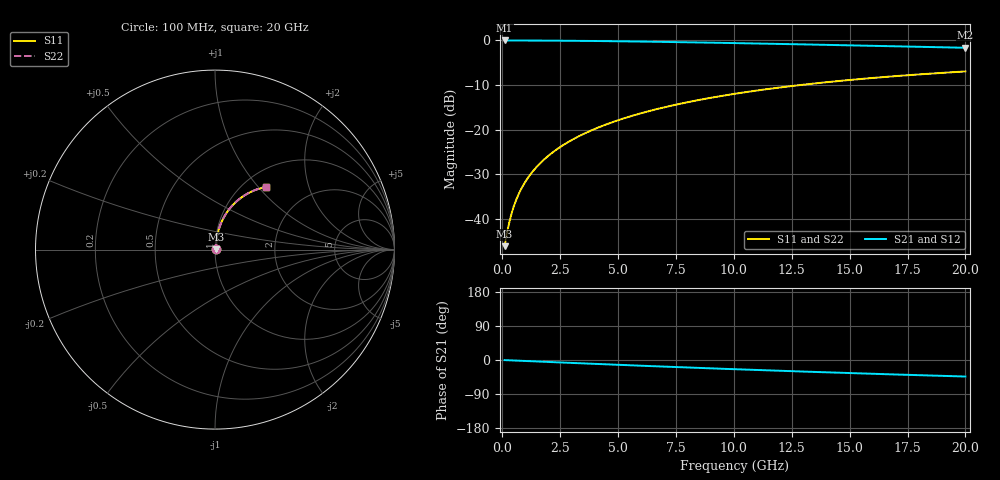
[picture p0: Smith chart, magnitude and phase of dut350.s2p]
! Touchstone file exported from HFSS 2024.1.0
!  File:  C:/UserFiles/LocalFiles/RDL_TSV_Batchsim/temp_RDL_top_350_1779608132.aedt
!  Generated:  03:37:49 PM May 24, 2026
!  Design:  RDL_top
!  Project:  temp_RDL_top_350_1779608132
!  Setup:  Setup1
!  Solution:  Sweep
! Variables:
!  dtsv = 10.80580581um
!  hbump = 3um
!  htsv = 67.07um
!  ldown = 100um
!  lrdl = 584.65um
!  p = 40
!  p1 = 49.25um
!  rhole = 1um
!  t = 450um
!  tdown = 3.915915916um
!  trdl = 3.22um
!  wdown = 15.38538539um
!  wrdl = 15.97um
# GHz S MA R 50.000000
! Terminal data exported
! Port[1] = Box2_T1
! Port[2] = Box2_T2
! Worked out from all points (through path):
!   200 points, 100 MHz to 20 GHz, reference 50 ohm
!   highest |S21| = -0.04 dB at 100 MHz (marker M1); lowest = -1.7 dB at 20 GHz (marker M2)
!   group delay of S21, straight-line fit = 6.05 ps
!   lowest |S11| = -46.1 dB at 100 MHz (marker M3), VSWR 1.01, Z = 50.4 + j0.272 ohm
!   |S11| at or under -10 dB: start of sweep to 12.9 GHz
!   |S22| runs from -46.1 to -7.0 dB; largest |S21 - S12| = 2.6e-15
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0.1  0.004955 32.9  0.9958 -0.3  0.9958 -0.3  0.004955 32.9
! Gamma 0 0 0 0
! Port Impedance 50 0 50 0
0.2  0.006848 51.4  0.9957 -0.5  0.9957 -0.5  0.006848 51.4
0.3  0.009112 61.0  0.9956 -0.8  0.9956 -0.8  0.009112 61.0
0.4  0.01149 66.5  0.9954 -1.1  0.9954 -1.1  0.01149 66.5
0.5  0.01391 70.0  0.9952 -1.3  0.9952 -1.3  0.01391 70.0
0.6  0.01635 72.4  0.995 -1.6  0.995 -1.6  0.01635 72.4
0.8  0.02125 75.6  0.9947 -2.1  0.9947 -2.1  0.02125 75.6
1.1  0.02866 78.3  0.9941 -2.9  0.9941 -2.9  0.02866 78.3
1.3  0.03364 79.3  0.9936 -3.4  0.9936 -3.4  0.03364 79.3
1.6  0.04114 80.3  0.9928 -4.2  0.9928 -4.2  0.04114 80.3
2.1  0.05372 81.0  0.9912 -5.4  0.9912 -5.4  0.05372 81.0
2.7  0.06888 81.1  0.9889 -7.0  0.9889 -7.0  0.06888 81.1
3.5  0.08919 80.5  0.9849 -9.0  0.9849 -9.0  0.08919 80.5
4.2  0.107 79.8  0.9808 -10.7  0.9808 -10.7  0.107 79.8
5  0.1273 78.6  0.9754 -12.7  0.9754 -12.7  0.1273 78.7
5.9  0.1502 77.2  0.9686 -14.9  0.9686 -14.9  0.1502 77.2
6.8  0.1728 75.7  0.9612 -17.0  0.9612 -17.0  0.1728 75.7
8.4  0.2124 72.7  0.9467 -20.7  0.9467 -20.7  0.2125 72.7
10.1  0.2532 69.4  0.93 -24.4  0.93 -24.4  0.2532 69.4
13.4  0.3269 63.0  0.8956 -31.3  0.8956 -31.3  0.3269 63.0
16.7  0.3919 56.8  0.86 -37.7  0.86 -37.7  0.392 56.8
20  0.448 51.0  0.8247 -43.6  0.8247 -43.6  0.4481 51.0
